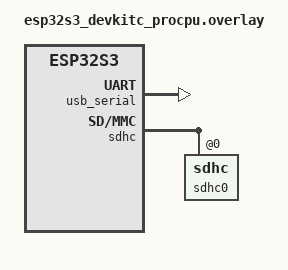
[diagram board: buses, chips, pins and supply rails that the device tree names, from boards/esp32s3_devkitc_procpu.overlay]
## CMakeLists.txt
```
cmake_minimum_required(VERSION 3.20.0)
find_package(Zephyr REQUIRED HINTS $ENV{ZEPHYR_BASE})
project(sdcard_test)

target_sources(app PRIVATE src/main.c)
```

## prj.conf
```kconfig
CONFIG_PRINTK=y
CONFIG_CONSOLE=y
CONFIG_SERIAL=y
CONFIG_LOG=y
CONFIG_LOG_DEFAULT_LEVEL=3

CONFIG_DISK_ACCESS=y
CONFIG_DISK_DRIVER_SDMMC=y
CONFIG_FILE_SYSTEM=y
CONFIG_FILE_SYSTEM_MKFS=y
CONFIG_FAT_FILESYSTEM_ELM=y
CONFIG_FS_FATFS_MOUNT_MKFS=y

CONFIG_MAIN_STACK_SIZE=4096
```

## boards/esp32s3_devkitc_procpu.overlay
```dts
/* CHD-ESP32-S3-BOX: USB-Serial console + SD card (1-bit SDIO) */

#include <zephyr/dt-bindings/pinctrl/esp32s3-pinctrl.h>

/ {
	aliases {
		sdhc0 = &sdhc0;
	};

	chosen {
		zephyr,console = &usb_serial;
		zephyr,shell-uart = &usb_serial;
		zephyr,sdhc = &sdhc0;
	};
};

&usb_serial {
	status = "okay";
};

&uart0 {
	status = "disabled";
};

&pinctrl {
	sdhc0_default: sdhc0_default {
		group1 {
			pinmux = <SDHC0_CMD_GPIO0>,
				 <SDHC0_CLKOUT_GPIO43>,
				 <SDHC0_DATA0_GPIO44>;
			bias-pull-up;
			input-enable;
			output-high;
		};
	};
};

&sdhc {
	sdhc0: sdhc@0 {
		status = "okay";
		pinctrl-0 = <&sdhc0_default>;
		pinctrl-names = "default";
		power-delay-ms = <500>;
		max-bus-freq = <10000000>;
		bus-width = <1>;

		clk-pin = <43>;
		cmd-pin = <0>;
		d0-pin = <44>;

		mmc {
			compatible = "zephyr,sdmmc-disk";
			disk-name = "SD";
			status = "okay";
		};
	};
};
```

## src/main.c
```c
/*
 * SD Card Test — Phase 6: Module 11
 * Initialize SDMMC, mount FAT, write a file, read it back, and list the root directory.
 */

#include <string.h>
#include <zephyr/device.h>
#include <zephyr/fs/fs.h>
#include <zephyr/kernel.h>
#include <zephyr/logging/log.h>
#include <zephyr/storage/disk_access.h>

#include <ff.h>

LOG_MODULE_REGISTER(sdcard_test, LOG_LEVEL_INF);

#define DISK_DRIVE_NAME "SD"
#define DISK_MOUNT_PT "/SD:"
#define TEST_FILE_PATH DISK_MOUNT_PT "/TEST.TXT"

static FATFS fat_fs;

static struct fs_mount_t mount_info = {
	.type = FS_FATFS,
	.fs_data = &fat_fs,
	.mnt_point = DISK_MOUNT_PT,
};

static int list_dir(const char *path)
{
	struct fs_dir_t dir;
	struct fs_dirent entry;
	int ret;

	fs_dir_t_init(&dir);
	ret = fs_opendir(&dir, path);
	if (ret != 0) {
		LOG_ERR("fs_opendir(%s) failed: %d", path, ret);
		return ret;
	}

	printk("\nListing %s\n", path);
	while (true) {
		ret = fs_readdir(&dir, &entry);
		if (ret != 0) {
			LOG_ERR("fs_readdir failed: %d", ret);
			break;
		}

		if (entry.name[0] == '\0') {
			ret = 0;
			break;
		}

		if (entry.type == FS_DIR_ENTRY_DIR) {
			printk("[DIR ] %s\n", entry.name);
		} else {
			printk("[FILE] %s (%zu bytes)\n", entry.name, entry.size);
		}
	}

	fs_closedir(&dir);
	return ret;
}

static int write_and_verify_file(void)
{
	struct fs_file_t file;
	char read_buf[128];
	const char test_payload[] = "sd ok\n";
	ssize_t length;
	int ret;

	fs_file_t_init(&file);

	ret = fs_open(&file, TEST_FILE_PATH, FS_O_CREATE | FS_O_RDWR);
	if (ret != 0) {
		LOG_ERR("fs_open(write) failed: %d", ret);
		return ret;
	}

	length = fs_write(&file, test_payload, strlen(test_payload));
	if (length < 0) {
		LOG_ERR("fs_write failed: %d", (int)length);
		fs_close(&file);
		return (int)length;
	}

	ret = fs_seek(&file, 0, FS_SEEK_SET);
	if (ret != 0) {
		LOG_ERR("fs_seek failed: %d", ret);
		fs_close(&file);
		return ret;
	}

	memset(read_buf, 0, sizeof(read_buf));
	length = fs_read(&file, read_buf, sizeof(read_buf) - 1);
	if (length < 0) {
		LOG_ERR("fs_read failed: %d", (int)length);
		fs_close(&file);
		return (int)length;
	}

	fs_close(&file);

	printk("Write/Read back: %s", read_buf);
	if (strcmp(read_buf, test_payload) != 0) {
		LOG_ERR("Readback mismatch");
		return -EIO;
	}

	LOG_INF("File write/read verification OK");
	return 0;
}

int main(void)
{
	uint32_t sector_count = 0;
	uint32_t sector_size = 0;
	uint64_t bytes_total;
	int ret;

	LOG_INF("=== SD Card Test ===");

	ret = disk_access_ioctl(DISK_DRIVE_NAME, DISK_IOCTL_CTRL_INIT, NULL);
	if (ret != 0) {
		LOG_ERR("SD init failed: %d", ret);
		return ret;
	}

	ret = disk_access_ioctl(DISK_DRIVE_NAME, DISK_IOCTL_GET_SECTOR_COUNT, &sector_count);
	if (ret != 0) {
		LOG_ERR("GET_SECTOR_COUNT failed: %d", ret);
		return ret;
	}

	ret = disk_access_ioctl(DISK_DRIVE_NAME, DISK_IOCTL_GET_SECTOR_SIZE, &sector_size);
	if (ret != 0) {
		LOG_ERR("GET_SECTOR_SIZE failed: %d", ret);
		return ret;
	}

	bytes_total = (uint64_t)sector_count * sector_size;
	LOG_INF("Sector count: %u", sector_count);
	LOG_INF("Sector size : %u", sector_size);
	LOG_INF("Capacity    : %u MB", (uint32_t)(bytes_total >> 20));

	ret = fs_mount(&mount_info);
	if (ret != 0) {
		LOG_ERR("fs_mount failed: %d", ret);
		return ret;
	}

	LOG_INF("Mounted %s", DISK_MOUNT_PT);

	ret = list_dir(DISK_MOUNT_PT);
	if (ret != 0) {
		fs_unmount(&mount_info);
		return ret;
	}

	ret = write_and_verify_file();
	if (ret != 0) {
		fs_unmount(&mount_info);
		return ret;
	}

	ret = list_dir(DISK_MOUNT_PT);
	if (ret != 0) {
		fs_unmount(&mount_info);
		return ret;
	}

	ret = fs_unmount(&mount_info);
	if (ret != 0) {
		LOG_ERR("fs_unmount failed: %d", ret);
		return ret;
	}

	LOG_INF("SD card test OK");
	return 0;
}
```
